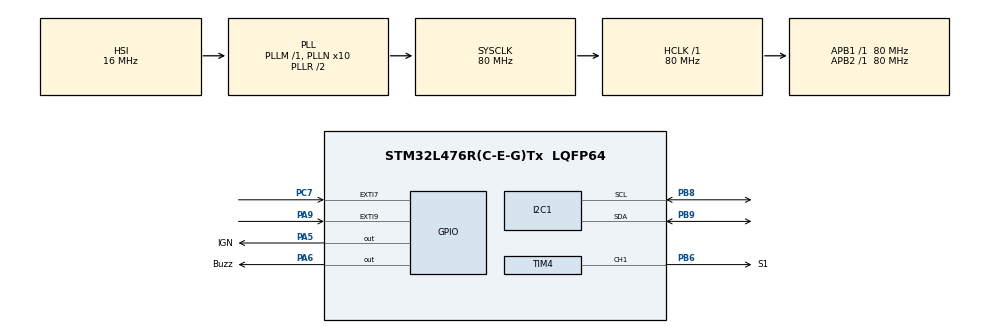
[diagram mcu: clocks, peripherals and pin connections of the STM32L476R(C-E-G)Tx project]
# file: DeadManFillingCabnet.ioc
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I2C1.Timing=0x10D19CE4
Mcu.Family=STM32L4
Mcu.Name=STM32L476R(C-E-G)Tx
Mcu.Package=LQFP64
NVIC.EXTI9_5_IRQn=true\:0\:0\:false\:false\:true\:true\:true\:true
NVIC.PriorityGroup=NVIC_PRIORITYGROUP_4
NVIC.TIM1_UP_TIM16_IRQn=true\:0\:0\:false\:false\:true\:true\:true\:true
PA13\ (JTMS-SWDIO).GPIO_Label=TMS
PA13\ (JTMS-SWDIO).Mode=Serial_Wire
PA13\ (JTMS-SWDIO).Signal=SYS_JTMS-SWDIO
PA14\ (JTCK-SWCLK).GPIO_Label=TCK
PA14\ (JTCK-SWCLK).Mode=Serial_Wire
PA14\ (JTCK-SWCLK).Signal=SYS_JTCK-SWCLK
PA5.GPIO_Label=IGN
PA5.GPIO_ModeDefaultOutputPP=GPIO_MODE_OUTPUT_PP
PA5.GPIO_PuPd=GPIO_NOPULL
PA5.GPIO_Speed=GPIO_SPEED_FREQ_LOW
PA5.Signal=GPIO_Output
PA6.GPIO_Label=Buzz
PA6.Signal=GPIO_Output
PA9.GPIO_PuPd=GPIO_PULLDOWN
PA9.Signal=GPXTI9
PB3\ (JTDO-TRACESWO).GPIO_Label=SWO
PB3\ (JTDO-TRACESWO).Signal=SYS_JTDO-SWO
PB6.GPIO_Label=S1
PB6.Signal=S_TIM4_CH1
PB8.Mode=I2C
PB8.Signal=I2C1_SCL
PB9.Mode=I2C
PB9.Signal=I2C1_SDA
PC14-OSC32_IN\ (PC14).Mode=LSE-External-Oscillator
PC14-OSC32_IN\ (PC14).Signal=RCC_OSC32_IN
PC15-OSC32_OUT\ (PC15).Mode=LSE-External-Oscillator
PC15-OSC32_OUT\ (PC15).Signal=RCC_OSC32_OUT
PC7.GPIO_PuPd=GPIO_PULLDOWN
PC7.Signal=GPXTI7
PH0-OSC_IN\ (PH0).Signal=RCC_OSC_IN
PH1-OSC_OUT\ (PH1).Signal=RCC_OSC_OUT
ProjectManager.HeapSize=0x200
ProjectManager.StackSize=0x400
ProjectManager.TargetToolchain=STM32CubeIDE
RCC.ADCFreq_Value=64000000
RCC.AHBFreq_Value=80000000
RCC.APB1Freq_Value=80000000
RCC.APB1TimFreq_Value=80000000
RCC.APB2Freq_Value=80000000
RCC.APB2TimFreq_Value=80000000
RCC.CortexFreq_Value=80000000
RCC.HCLKFreq_Value=80000000
RCC.HSE_VALUE=8000000
RCC.HSI_VALUE=16000000
RCC.MSI_VALUE=4000000
RCC.PLLN=10
RCC.PLLSourceVirtual=RCC_PLLSOURCE_HSI
RCC.PREFETCH_ENABLE=1
RCC.SYSCLKFreq_VALUE=80000000
RCC.SYSCLKSource=RCC_SYSCLKSOURCE_PLLCLK
RCC.USBFreq_Value=64000000
RCC.VCOOutputFreq_Value=160000000
SH.S_TIM4_CH1.0=TIM4_CH1,PWM Generation1 CH1
TIM1.AutoReloadPreload=TIM_AUTORELOAD_PRELOAD_ENABLE
TIM1.Period=40000-1
TIM1.Prescaler=2000-1
TIM4.AutoReloadPreload=TIM_AUTORELOAD_PRELOAD_ENABLE
TIM4.Channel-PWM\ Generation1\ CH1=TIM_CHANNEL_1
TIM4.Period=50000-1
TIM4.Prescaler=32-1
VP_TIM1_VS_ClockSourceINT.Mode=Internal
board=NUCLEO-L476RG

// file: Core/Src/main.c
/* USER CODE BEGIN Header */
/**
  ******************************************************************************
  * @file           : main.c
  * @brief          : Main program body
  ******************************************************************************
  * @attention
  *
  * Copyright (c) 2026 STMicroelectronics.
  * All rights reserved.
  *
  * This software is licensed under terms that can be found in the LICENSE file
  * in the root directory of this software component.
  * If no LICENSE file comes with this software, it is provided AS-IS.
  *
  ******************************************************************************
  */
/* USER CODE END Header */
#include "main.h"

/* USER CODE BEGIN Includes */
#include <stdio.h>
#include <stdbool.h>
/* USER CODE END Includes */

/* USER CODE BEGIN PM */
#define DEATH 1800

// 1602 I2C address
#define I2C_ADDR 0x27 // I2C address of the PCF8574
// 1602 dimensions
#define LCD_ROWS 2 // Number of rows on the LCD
#define LCD_COLS 16 // Number of columns on the LCD
// 1602 message bit numbers
#define DC_BIT 0 // Data/Command bit (register select bit)
#define EN_BIT 2 // Enable bit
#define BL_BIT 3 // Backlight bit
#define D4_BIT 4 // Data 4 bit
#define D5_BIT 5 // Data 5 bit
#define D6_BIT 6 // Data 6 bit
#define D7_BIT 7 // Data 7 bit
/* USER CODE END PM */

I2C_HandleTypeDef hi2c1;

TIM_HandleTypeDef htim1;
TIM_HandleTypeDef htim4;

/* USER CODE BEGIN PV */
int TIME;
bool DEAD_MAN;
/* USER CODE END PV */

void SystemClock_Config(void);
static void MX_GPIO_Init(void);
static void MX_I2C1_Init(void);
static void MX_TIM1_Init(void);
static void MX_TIM4_Init(void);
/* USER CODE BEGIN PFP */
void CharLCD_Write_Nibble (uint8_t nibble, uint8_t dc);
void CharLCD_Send_Cmd(uint8_t cmd);
void CharLCD_Send_Data(uint8_t data);
void CharLCD_Init();
void CharLCD_Write_String(char *str);
void CharLCD_Set_Cursor(uint8_t row, uint8_t column);
void CharLCD_Clear(void);
void UPDATE_LCD(void);
/* USER CODE END PFP */

int main(void)
{

  /* MCU Configuration--------------------------------------------------------*/

  /* Reset of all peripherals, Initializes the Flash interface and the Systick. */
  HAL_Init();

  /* Configure the system clock */
  SystemClock_Config();

  /* Initialize all configured peripherals */
  MX_GPIO_Init();
  MX_I2C1_Init();
  MX_TIM1_Init();
  MX_TIM4_Init();
  /* USER CODE BEGIN 2 */
  HAL_TIM_Base_Start_IT(&htim1);
  HAL_TIM_PWM_Start(&htim4, TIM_CHANNEL_1);
  CharLCD_Init();
  int Dead_Man = 3;

  // Set CCR1 to 75 (75% duty cycle if ARR is 99)
  __HAL_TIM_SET_COMPARE(&htim4, TIM_CHANNEL_1, 2500);
  /* USER CODE END 2 */

  /* Infinite loop */
  /* USER CODE BEGIN WHILE */
  while (1)
  {
	UPDATE_LCD();

	if (DEAD_MAN && (Dead_Man > 0 )) {
		HAL_GPIO_WritePin(Buzz_GPIO_Port, Buzz_Pin, 0);
		__HAL_TIM_SET_COMPARE(&htim4, TIM_CHANNEL_1, 5000);
		HAL_Delay(1000);
		HAL_GPIO_WritePin(IGN_GPIO_Port, IGN_Pin, 1);
		Dead_Man --;
	}
	else if ((Dead_Man == 0 )) {
		HAL_GPIO_WritePin(IGN_GPIO_Port, IGN_Pin, 0);
		__HAL_TIM_SET_COMPARE(&htim4, TIM_CHANNEL_1, 2500);
	}

	if (((DEATH - TIME) < 300) && (TIME % 2 == 0)) {
		HAL_GPIO_TogglePin(Buzz_GPIO_Port, Buzz_Pin);
	}
    /* USER CODE END WHILE */

    /* USER CODE BEGIN 3 */
	HAL_Delay(500);
  }
  /* USER CODE END 3 */
}

void SystemClock_Config(void)
{
  RCC_OscInitTypeDef RCC_OscInitStruct = {0};
  RCC_ClkInitTypeDef RCC_ClkInitStruct = {0};

  /** Configure the main internal regulator output voltage
  */
  if (HAL_PWREx_ControlVoltageScaling(PWR_REGULATOR_VOLTAGE_SCALE1) != HAL_OK)
  {
    Error_Handler();
  }

  /** Initializes the RCC Oscillators according to the specified parameters
  * in the RCC_OscInitTypeDef structure.
  */
  RCC_OscInitStruct.OscillatorType = RCC_OSCILLATORTYPE_HSI;
  RCC_OscInitStruct.HSIState = RCC_HSI_ON;
  RCC_OscInitStruct.HSICalibrationValue = RCC_HSICALIBRATION_DEFAULT;
  RCC_OscInitStruct.PLL.PLLState = RCC_PLL_ON;
  RCC_OscInitStruct.PLL.PLLSource = RCC_PLLSOURCE_HSI;
  RCC_OscInitStruct.PLL.PLLM = 1;
  RCC_OscInitStruct.PLL.PLLN = 10;
  RCC_OscInitStruct.PLL.PLLP = RCC_PLLP_DIV7;
  RCC_OscInitStruct.PLL.PLLQ = RCC_PLLQ_DIV2;
  RCC_OscInitStruct.PLL.PLLR = RCC_PLLR_DIV2;
  if (HAL_RCC_OscConfig(&RCC_OscInitStruct) != HAL_OK)
  {
    Error_Handler();
  }

  /** Initializes the CPU, AHB and APB buses clocks
  */
  RCC_ClkInitStruct.ClockType = RCC_CLOCKTYPE_HCLK|RCC_CLOCKTYPE_SYSCLK
                              |RCC_CLOCKTYPE_PCLK1|RCC_CLOCKTYPE_PCLK2;
  RCC_ClkInitStruct.SYSCLKSource = RCC_SYSCLKSOURCE_PLLCLK;
  RCC_ClkInitStruct.AHBCLKDivider = RCC_SYSCLK_DIV1;
  RCC_ClkInitStruct.APB1CLKDivider = RCC_HCLK_DIV1;
  RCC_ClkInitStruct.APB2CLKDivider = RCC_HCLK_DIV1;

  if (HAL_RCC_ClockConfig(&RCC_ClkInitStruct, FLASH_LATENCY_4) != HAL_OK)
  {
    Error_Handler();
  }
}

static void MX_I2C1_Init(void)
{

  hi2c1.Instance = I2C1;
  hi2c1.Init.Timing = 0x10D19CE4;
  hi2c1.Init.OwnAddress1 = 0;
  hi2c1.Init.AddressingMode = I2C_ADDRESSINGMODE_7BIT;
  hi2c1.Init.DualAddressMode = I2C_DUALADDRESS_DISABLE;
  hi2c1.Init.OwnAddress2 = 0;
  hi2c1.Init.OwnAddress2Masks = I2C_OA2_NOMASK;
  hi2c1.Init.GeneralCallMode = I2C_GENERALCALL_DISABLE;
  hi2c1.Init.NoStretchMode = I2C_NOSTRETCH_DISABLE;
  if (HAL_I2C_Init(&hi2c1) != HAL_OK)
  {
    Error_Handler();
  }

  /** Configure Analogue filter
  */
  if (HAL_I2CEx_ConfigAnalogFilter(&hi2c1, I2C_ANALOGFILTER_ENABLE) != HAL_OK)
  {
    Error_Handler();
  }

  /** Configure Digital filter
  */
  if (HAL_I2CEx_ConfigDigitalFilter(&hi2c1, 0) != HAL_OK)
  {
    Error_Handler();
  }

}

static void MX_TIM1_Init(void)
{

  TIM_ClockConfigTypeDef sClockSourceConfig = {0};
  TIM_MasterConfigTypeDef sMasterConfig = {0};

  htim1.Instance = TIM1;
  htim1.Init.Prescaler = 2000-1;
  htim1.Init.CounterMode = TIM_COUNTERMODE_UP;
  htim1.Init.Period = 40000-1;
  htim1.Init.ClockDivision = TIM_CLOCKDIVISION_DIV1;
  htim1.Init.RepetitionCounter = 0;
  htim1.Init.AutoReloadPreload = TIM_AUTORELOAD_PRELOAD_ENABLE;
  if (HAL_TIM_Base_Init(&htim1) != HAL_OK)
  {
    Error_Handler();
  }
  sClockSourceConfig.ClockSource = TIM_CLOCKSOURCE_INTERNAL;
  if (HAL_TIM_ConfigClockSource(&htim1, &sClockSourceConfig) != HAL_OK)
  {
    Error_Handler();
  }
  sMasterConfig.MasterOutputTrigger = TIM_TRGO_RESET;
  sMasterConfig.MasterOutputTrigger2 = TIM_TRGO2_RESET;
  sMasterConfig.MasterSlaveMode = TIM_MASTERSLAVEMODE_DISABLE;
  if (HAL_TIMEx_MasterConfigSynchronization(&htim1, &sMasterConfig) != HAL_OK)
  {
    Error_Handler();
  }

}

static void MX_TIM4_Init(void)
{

  TIM_MasterConfigTypeDef sMasterConfig = {0};
  TIM_OC_InitTypeDef sConfigOC = {0};

  htim4.Instance = TIM4;
  htim4.Init.Prescaler = 32-1;
  htim4.Init.CounterMode = TIM_COUNTERMODE_UP;
  htim4.Init.Period = 50000-1;
  htim4.Init.ClockDivision = TIM_CLOCKDIVISION_DIV1;
  htim4.Init.AutoReloadPreload = TIM_AUTORELOAD_PRELOAD_ENABLE;
  if (HAL_TIM_PWM_Init(&htim4) != HAL_OK)
  {
    Error_Handler();
  }
  sMasterConfig.MasterOutputTrigger = TIM_TRGO_RESET;
  sMasterConfig.MasterSlaveMode = TIM_MASTERSLAVEMODE_DISABLE;
  if (HAL_TIMEx_MasterConfigSynchronization(&htim4, &sMasterConfig) != HAL_OK)
  {
    Error_Handler();
  }
  sConfigOC.OCMode = TIM_OCMODE_PWM1;
  sConfigOC.Pulse = 0;
  sConfigOC.OCPolarity = TIM_OCPOLARITY_HIGH;
  sConfigOC.OCFastMode = TIM_OCFAST_DISABLE;
  if (HAL_TIM_PWM_ConfigChannel(&htim4, &sConfigOC, TIM_CHANNEL_1) != HAL_OK)
  {
    Error_Handler();
  }
  HAL_TIM_MspPostInit(&htim4);

}

static void MX_GPIO_Init(void)
{
  GPIO_InitTypeDef GPIO_InitStruct = {0};

  /* GPIO Ports Clock Enable */
  __HAL_RCC_GPIOC_CLK_ENABLE();
  __HAL_RCC_GPIOH_CLK_ENABLE();
  __HAL_RCC_GPIOA_CLK_ENABLE();
  __HAL_RCC_GPIOB_CLK_ENABLE();

  /*Configure GPIO pin Output Level */
  HAL_GPIO_WritePin(GPIOA, IGN_Pin|Buzz_Pin, GPIO_PIN_RESET);

  /*Configure GPIO pins : IGN_Pin Buzz_Pin */
  GPIO_InitStruct.Pin = IGN_Pin|Buzz_Pin;
  GPIO_InitStruct.Mode = GPIO_MODE_OUTPUT_PP;
  GPIO_InitStruct.Pull = GPIO_NOPULL;
  GPIO_InitStruct.Speed = GPIO_SPEED_FREQ_LOW;
  HAL_GPIO_Init(GPIOA, &GPIO_InitStruct);

  /*Configure GPIO pin : PC7 */
  GPIO_InitStruct.Pin = GPIO_PIN_7;
  GPIO_InitStruct.Mode = GPIO_MODE_IT_RISING;
  GPIO_InitStruct.Pull = GPIO_PULLDOWN;
  HAL_GPIO_Init(GPIOC, &GPIO_InitStruct);

  /*Configure GPIO pin : PA9 */
  GPIO_InitStruct.Pin = GPIO_PIN_9;
  GPIO_InitStruct.Mode = GPIO_MODE_IT_RISING;
  GPIO_InitStruct.Pull = GPIO_PULLDOWN;
  HAL_GPIO_Init(GPIOA, &GPIO_InitStruct);

  /* EXTI interrupt init*/
  HAL_NVIC_SetPriority(EXTI9_5_IRQn, 0, 0);
  HAL_NVIC_EnableIRQ(EXTI9_5_IRQn);

}

/* USER CODE BEGIN 4 */
void UPDATE_LCD() {
	CharLCD_Set_Cursor(0, 0);

	if (TIME % 5 == 0) CharLCD_Clear();

	if (TIME < DEATH) {
	char message[20];
	snprintf(message, sizeof(message), "%d min %d sec         .", (DEATH - TIME) / 60, (DEATH - TIME) % 60) ;
	CharLCD_Write_String(message);
	CharLCD_Set_Cursor(1, 0);
	CharLCD_Write_String("Remaining                 ");

	}
	else {
		CharLCD_Write_String("REMOVING                ");
		CharLCD_Set_Cursor(1, 0);
		CharLCD_Write_String("EVIDENCE                 ");
	}
}

void HAL_GPIO_EXTI_Callback(uint16_t GPIO_Pin)
{
    if (GPIO_Pin == GPIO_PIN_9) { // Reset Button was pressed
    	TIME = 0;
		HAL_GPIO_WritePin(Buzz_GPIO_Port, Buzz_Pin, 0);
    }
    else if (GPIO_Pin == GPIO_PIN_7) {
    	TIME = DEATH - 15;
    }
}

void HAL_TIM_PeriodElapsedCallback(TIM_HandleTypeDef *htim) {
	if (DEATH - TIME >= 0) TIME++;
	if (TIME >= DEATH) {
		DEAD_MAN = true;
	}
}

/**
 * @brief Write a 4-bit nibble to the LCD via I2C
 * @param nibble: 4-bit data to send (lower 4 bits)
 * @param dc: data/command (1 = data, 0 = command)
 * @retval None
 */
void CharLCD_Write_Nibble(uint8_t nibble, uint8_t dc) {
 uint8_t data = nibble << D4_BIT; // Shift nibble to D4-D7 position
 data |= dc << DC_BIT; // Set DC bit for data/command selection
 data |= 1 << BL_BIT; // Include backlight state in data
 data |= 1 << EN_BIT; // Set enable bit high
 HAL_I2C_Master_Transmit(&hi2c1, I2C_ADDR << 1, &data, 1, 100); // Send data with EN high
 HAL_Delay(1); // Wait for data setup
 data &= ~(1 << EN_BIT); // Clear enable bit (falling edge triggers LCD)
 HAL_I2C_Master_Transmit(&hi2c1, I2C_ADDR << 1, &data, 1, 100); // Send data with EN low
}

/**
 * @brief Send command to LCD
 * @param cmd: 8-bit command to send to LCD controller
 * @retval None
 */
void CharLCD_Send_Cmd(uint8_t cmd) {
 uint8_t upper_nibble = cmd >> 4; // Extract upper 4 bits
 uint8_t lower_nibble = cmd & 0x0F; // Extract lower 4 bits
 CharLCD_Write_Nibble(upper_nibble, 0); // Send upper nibble (DC=0 for command)
 CharLCD_Write_Nibble(lower_nibble, 0); // Send lower nibble (DC=0 for command)
 if (cmd == 0x01 || cmd == 0x02) { // Clear display or return home commands
 HAL_Delay(2); // These commands need extra time
 }
}
/**
 * @brief Send data (character) to LCD
 * @param data: 8-bit character data to display
 * @retval None
 */
void CharLCD_Send_Data(uint8_t data) {
 uint8_t upper_nibble = data >> 4; // Extract upper 4 bits
 uint8_t lower_nibble = data & 0x0F; // Extract lower 4 bits
 CharLCD_Write_Nibble(upper_nibble, 1); // Send upper nibble (DC=1 for data)
 CharLCD_Write_Nibble(lower_nibble, 1); // Send lower nibble (DC=1 for data)
}

/**
 * @brief Initialize LCD in 4-bit mode via I2C
 * @param None
 * @retval None
 */
void CharLCD_Init() {
 HAL_Delay(50); // Wait for LCD power-on reset (>40ms)
 CharLCD_Write_Nibble(0x03, 0); // Function set: 8-bit mode (first attempt)
 HAL_Delay(5); // Wait >4.1ms
 CharLCD_Write_Nibble(0x03, 0); // Function set: 8-bit mode (second attempt)
 HAL_Delay(1); // Wait >100us
 CharLCD_Write_Nibble(0x03, 0); // Function set: 8-bit mode (third attempt)
 HAL_Delay(1); // Wait >100us
 CharLCD_Write_Nibble(0x02, 0); // Function set: switch to 4-bit mode
 CharLCD_Send_Cmd(0x28); // Function set: 4-bit, 2 lines, 5x8 font
 CharLCD_Send_Cmd(0x0C); // Display control: display on/cursor off/blink off
 CharLCD_Send_Cmd(0x06); // Entry mode: increment cursor, no shift
 CharLCD_Send_Cmd(0x01); // Clear display
 HAL_Delay(2); // Wait for clear display command
}

/**
 * @brief Write string to LCD at current cursor position
 * @param str: Pointer to null-terminated string
 * @retval None
 */
void CharLCD_Write_String(char *str) {
 while (*str) { // Loop until null terminator
 CharLCD_Send_Data(*str++); // Send each character and increment pointer
 }
}
/**
 * @brief Set cursor position on LCD
 * @param row: Row number (0 or 1 for 2-line display)
 * @param column: Column number (0 to display width - 1)
 * @retval None
 */
void CharLCD_Set_Cursor(uint8_t row, uint8_t column) {
 uint8_t address;
 switch (row) {
 case 0:
 address = 0x00; break; // First line starts at address 0x00
 case 1:
 address = 0x40; break; // Second line starts at address 0x40
 default:
 address = 0x00; // Default to first line for invalid row
 }
 address += column; // Add column offset
 CharLCD_Send_Cmd(0x80 | address); // Set DDRAM address command (0x80 + address)
}
/**
 * @brief Clear LCD display and return cursor to home position
 * @param None
 * @retval None
 */
void CharLCD_Clear(void) {
 CharLCD_Send_Cmd(0x01); // Clear display command
}

/* USER CODE END 4 */

void Error_Handler(void)
{
  __disable_irq();
  while (1)
  {
  }
}
